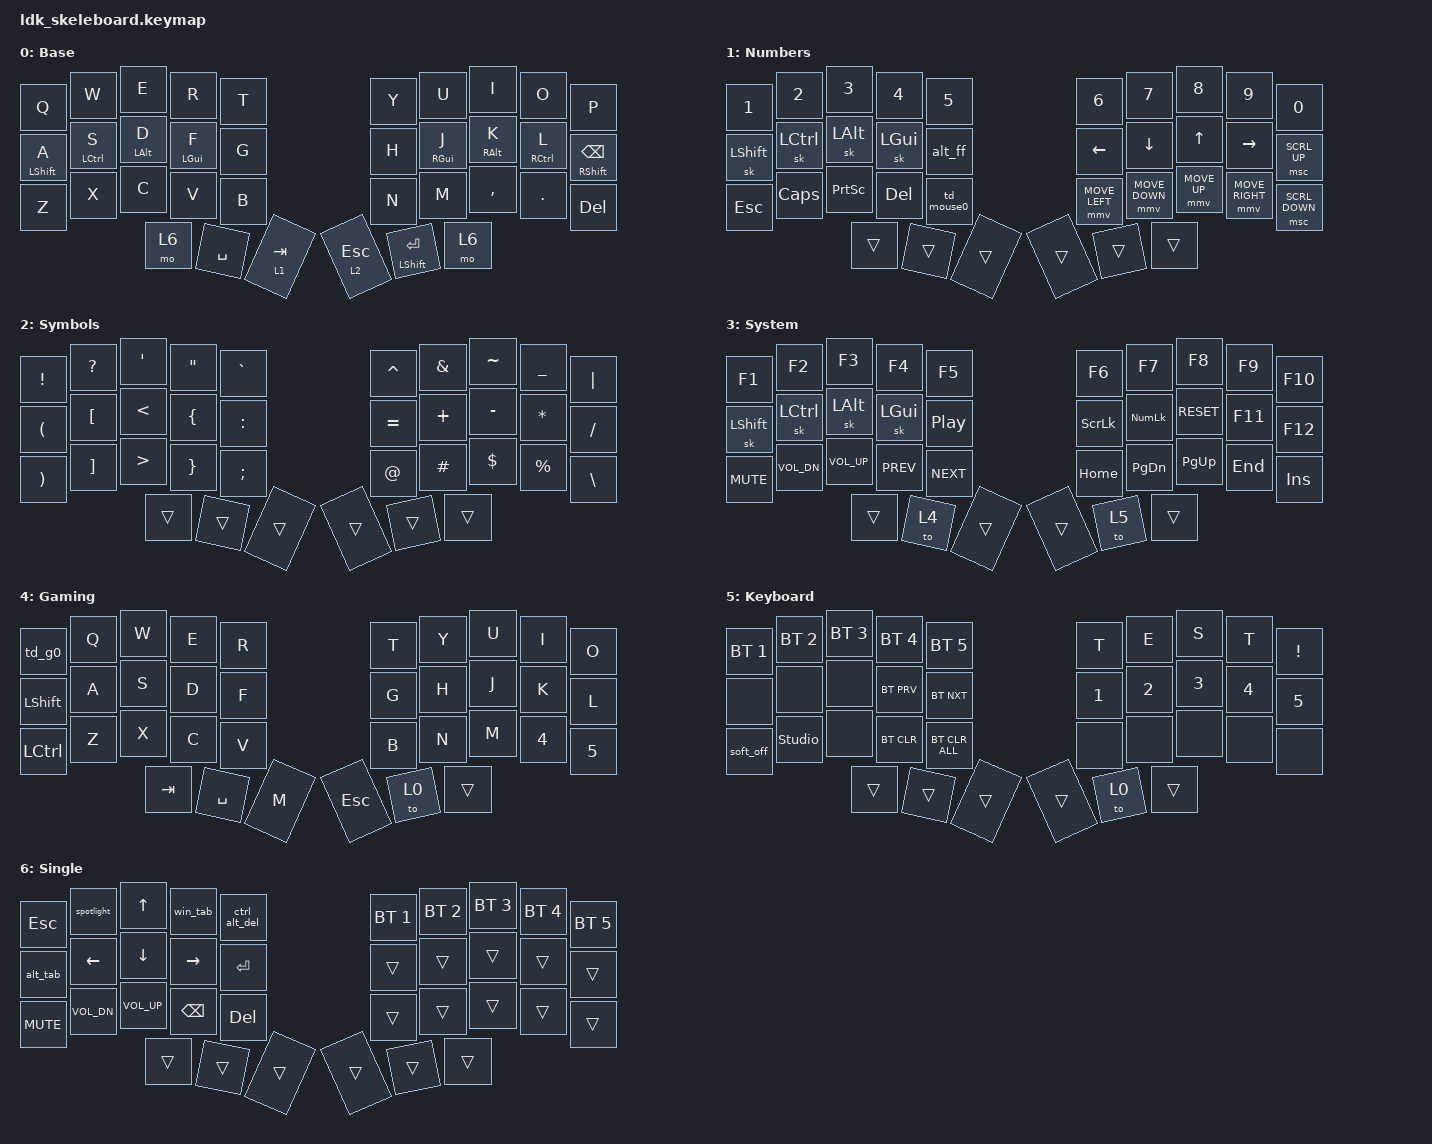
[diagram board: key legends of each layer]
#include <behaviors.dtsi>
#include <behaviors/mouse_keys.dtsi>
#include <dt-bindings/zmk/keys.h>
#include <dt-bindings/zmk/bt.h>
#include <dt-bingings/zmk/mouse.h>
#include <dt-bindings/zmk/pointing.h>

#define ZMK_POINTING_DEFAULT_MOVE_VAL 1500  // default: 600
#define ZMK_POINTING_DEFAULT_SCRL_VAL 20    // default: 10

#define COMBO(NAME, BINDINGS, KEYPOS) \
combo_##NAME { \
    timeout-ms = <50>; \
    bindings = <BINDINGS>; \
    key-positions = <KEYPOS>; \
    layers = <0>; \
};

#define BASE 0
#define NUMBERS 1
#define SYMBOLS 2
#define SYSTEM 3
#define GAMING 4
#define KEYBOARD 5
#define SINGLE 6

// Behavior Overrides
&lt {
  tapping-term-ms = <200>;
  flavor = "hold-preferred";
};

&soft_off {
  hold-time-ms = <5000>; // Only turn off it the key is held for 5 seconds or longer.
};

/ {
  macros {
    // Spotlight
    spotlight: spotlight {
      compatible = "zmk,behavior-macro";
      #binding-cells = <0>;
      bindings = <&macro_press &kp LGUI>, <&macro_tap &kp SPACE>, <&macro_release &kp LGUI>; 
    };
    // Alt + Tab
    alt_tab: alt_tab {
      compatible = "zmk,behavior-macro";
      #binding-cells = <0>;
      bindings = <&macro_press &kp LALT>, <&macro_tap &kp TAB>, <&macro_release &kp LALT>;
    };
// Ctrl + Alt + Del
    ctrl_alt_del: ctrl_alt_del {
      compatible = "zmk,behavior-macro";
      #binding-cells = <0>;
      bindings = <&macro_press &kp LCTRL &kp LALT>, <&macro_tap &kp DEL>, <&macro_release &kp LCTRL &kp LALT>;
    };

    // Alt + F4
    alt_ff: alt_ff {
      compatible = "zmk,behavior-macro";
      #binding-cells = <0>;
      bindings = <&macro_press &kp LALT>, <&macro_tap &kp F4>, <&macro_release &kp LALT>;
    };
    // Win + Tab
    win_tab: win_tab {
      compatible = "zmk,behavior-macro";
      #binding-cells = <0>;
      bindings = <&macro_press &kp LGUI>, <&macro_tap &kp TAB>, <&macro_release &kp LGUI>;
    };
    // Vim Exit
    vim_exit: vim_exit {
      compatible = "zmk,behavior-macro";
      #binding-cells = <0>;
      bindings = <&macro_tap     &kp COLON &kp Q>;
    };
    // Vim Write
    vim_write: vim_write {
      compatible = "zmk,behavior-macro";
      #binding-cells = <0>;
      bindings = <&macro_tap     &kp COLON &kp W>;
    };
  };

  conditional_layers {
    compatible = "zmk,conditional-layers";
    tri_layer {
      if-layers = <1 2>;
      then-layer = <3>;
    };
  };

  combos {
    compatible = "zmk,combos";

    //   0  1  2  3  4 		 5  6  7  8  9
    //  10 11 12 13 14 		15 16 17 18 19
    //  20 21 22 23 24 		25 26 27 28 29
    //        30 31 32		33 34 35

    COMBO(to_layer,&to 4,31 32 33 34)
    COMBO(escape0,&kp ESC, 0 1)
    COMBO(escape1,&kp ESC, 1 2)
    COMBO(escape2,&kp ESC,7 8)
    COMBO(tab1,&kp TAB,2 3)
    COMBO(tab2,&kp TAB,6 7)
    COMBO(vim_exit,&vim_exit,25 26)
    COMBO(vim_write,&vim_write,26 27)
  };

  behaviors {
    hm: homerow_mods {  
      compatible = "zmk,behavior-hold-tap";
      #binding-cells = <2>;
      tapping-term-ms = <400>;
      require-prior-idle-ms = <125>;
      quick-tap-ms = <300>;
      flavor = "hold-preferred";
      bindings = <&kp>, <&kp>;
    };
    ent: enter_mods {  
      compatible = "zmk,behavior-hold-tap";
      #binding-cells = <2>;
      tapping-term-ms = <200>;
      quick-tap-ms = <0>;
      flavor = "hold-preferred";
      bindings = <&kp>, <&kp>;
    };
    td_g0: tap_dance_gaming_0 {
      compatible = "zmk,behavior-tap-dance";
      #binding-cells = <0>;
      tapping-term-ms = <200>;
      bindings = <&kp N1>, <&kp N2>, <&kp N3>;
    };
    td_mouse0: tap_dance_mouse_0 {
      compatible = "zmk,behavior-tap-dance";
      #binding-cells = <0>;
      tapping-term-ms = <200>;
      bindings = <&mkp MB1>, <&mkp MB2>, <&mkp MB3>;
    };
  };

  keymap {
    compatible = "zmk,keymap";

    base_layer {
      display-name = "Base";
      bindings = <
        &kp Q         &kp W         &kp E       &kp R       &kp T     &kp Y     &kp U       &kp I       &kp O       &kp P
        &hm LSHIFT A  &hm LCTRL S   &hm LALT D  &hm LGUI F  &kp G     &kp H     &hm RGUI J  &hm RALT K  &hm RCTRL L &hm RSHIFT BSPC
        &kp Z         &kp X         &kp C       &kp V       &kp B     &kp N     &kp M       &kp COMMA   &kp DOT     &kp DEL 
        &mo 6         &kp SPACE     &lt 1 TAB   &lt 2 ESC   &ent LSHIFT ENTER   &mo 6
      > ;
    };
    number_layer {
      display-name = "Numbers";
      bindings = <
        &kp N1      &kp N2      &kp N3      &kp  N4       &kp N5        &kp N6          &kp N7          &kp N8            &kp N9          &kp N0
        &sk LSHIFT  &sk LCTRL   &sk LALT    &sk LGUI      &alt_ff       &kp LEFT        &kp DOWN        &kp UP            &kp RIGHT       &msc SCRL_UP
        &kp ESC     &kp CAPS    &kp PSCRN   &kp DEL       &td_mouse0    &mmv MOVE_LEFT  &mmv MOVE_DOWN  &mmv MOVE_UP      &mmv MOVE_RIGHT &msc SCRL_DOWN
        &trans      &trans      &trans      &trans        &trans        &trans
      >;

    };
    symbols_layer {
      display-name = "Symbols";
      bindings = <
        &kp EXCL     &kp QMARK    &kp SQT     &kp DQT     &kp GRAVE      &kp CARET     &kp AMPS      &kp TILDE     &kp UNDER     &kp PIPE
        &kp LPAR     &kp LBKT     &kp LT      &kp LBRC    &kp COLON      &kp EQUAL     &kp PLUS      &kp MINUS     &kp STAR     &kp FSLH
        &kp RPAR     &kp RBKT     &kp GT      &kp RBRC    &kp SEMI       &kp AT        &kp POUND     &kp DLLR     &kp PRCNT     &kp BSLH
        &trans       &trans       &trans      &trans      &trans         &trans
      >;

    };
    system_layer {
      display-name = "System";
      bindings = <
        &kp F1      &kp F2        &kp F3        &kp F4      &kp F5     &kp F6       &kp F7        &kp F8        &kp F9      &kp F10
        &sk LSHIFT  &sk LCTRL     &sk LALT      &sk LGUI    &kp C_PP   &kp SLCK     &kp KP_NUM    &kp C_RESET   &kp F11     &kp F12
        &kp C_MUTE  &kp C_VOL_DN  &kp C_VOL_UP  &kp C_PREV  &kp C_NEXT &kp HOME     &kp PG_DN     &kp PG_UP     &kp END     &kp INSERT
        &trans      &to 4         &trans        &trans      &to 5      &trans
      >;
    };
    gaming_layer {
      display-name = "Gaming";
      bindings = <
        &td_g0     &kp Q     &kp W     &kp E     &kp R     &kp T     &kp Y     &kp U     &kp I     &kp O
        &kp LSHIFT &kp A     &kp S     &kp D     &kp F     &kp G     &kp H     &kp J     &kp K     &kp L
        &kp LCTRL  &kp Z     &kp X     &kp C     &kp V     &kp B     &kp N     &kp M     &kp N4     &kp N5
        &kp TAB    &kp SPACE &kp M     &kp ESC   &to 0     &trans
      >;
    };
    keyboard_layer {
      display-name = "Keyboard";
      bindings = <
        &bt BT_SEL 1    &bt BT_SEL 2    &bt BT_SEL 3  &bt BT_SEL 4  &bt BT_SEL 5      &kp T   &kp E   &kp S   &kp T   &kp EXCL 
        &none           &none           &none         &bt BT_PRV    &bt BT_NXT        &kp N1  &kp N2  &kp N3  &kp N4  &kp N5
        &soft_off       &studio_unlock  &none         &bt BT_CLR    &bt BT_CLR_ALL    &none   &none   &none   &none   &none
        &trans          &trans          &trans        &trans        &to 0             &trans
      >;
    };
    single_layer {
      display-name = "Single";
      bindings = <
        &kp ESC     &spotlight    &kp UP        &win_tab    &ctrl_alt_del       &bt BT_SEL 1  &bt BT_SEL 2  &bt BT_SEL 3  &bt BT_SEL 4  &bt BT_SEL 5
        &alt_tab    &kp LEFT      &kp DOWN      &kp RIGHT   &kp ENTER           &trans &trans &trans &trans &trans   
        &kp C_MUTE  &kp C_VOL_DN  &kp C_VOL_UP  &kp BSPC    &kp DEL             &trans &trans &trans  &trans &trans 
        &trans &trans &trans                                                    &trans &trans &trans  
      >;
    };
  };
};

